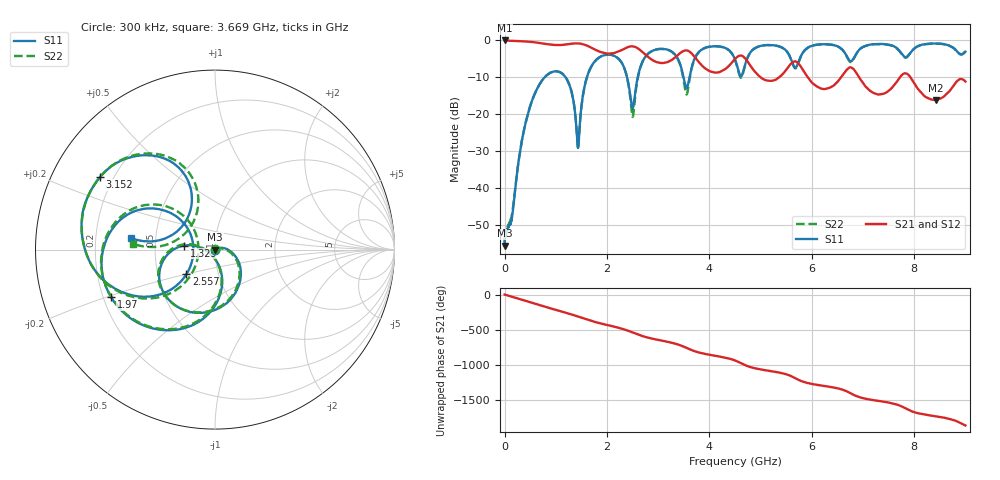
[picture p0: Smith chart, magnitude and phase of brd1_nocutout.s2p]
!Agilent Technologies,E8803A,US42160105,A.06.04.32
!Agilent E8803A: A.06.04.32
!Date: Wednesday, April 19, 2023 22:22:22
!Correction: S11(Full 2 Port(1,2)) S21(Full 2 Port(1,2)) S12(Full 2 Port(1,2)) S22(Full 2 Port(1,2))
!S2P File: Measurements: S11, S21, S12, S22:
# Hz S  dB  R 50
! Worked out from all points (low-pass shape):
!   6401 points, 300 kHz to 9 GHz, reference 50 ohm
!   highest |S21| = -0.01 dB at 300 kHz (marker M1); lowest = -16.1 dB at 8.421 GHz (marker M2)
!   |S21| within 3 dB of the highest: start of sweep to 1.851 GHz; 2.224 GHz to 2.682 GHz (457.6 MHz wide, 18.7 % of centre)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
!   lowest |S11| = -55.6 dB at 300 kHz (marker M3), VSWR 1.00, Z = 50.2 + j0.0402 ohm
!   |S11| at or under -10 dB: start of sweep to 781.8 MHz; 1.192 GHz to 1.607 GHz (415.4 MHz wide, 29.7 % of centre); 2.392 GHz to 2.6 GHz (207.2 MHz wide, 8.3 % of centre)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
!   |S22| runs from -55.7 to -0.9 dB; largest |S21 - S12| = 0.0058
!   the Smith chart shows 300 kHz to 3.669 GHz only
!   S11 on the Smith chart (normalised r, x): 300 kHz: 1.00, +0.00; 1.329 GHz: 0.71, +0.03; 1.97 GHz: 0.23, -0.21; 2.557 GHz: 0.70, -0.20; 3.152 GHz: 0.15, +0.28; 3.669 GHz: 0.36, +0.06
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300000  -55.61 14.0  -0.01 -0.1  -0.01 -0.1  -55.72 22.3
3.841935e8  -23.91 3.5  -0.27 -85.3  -0.28 -85.3  -23.94 -1.2
7.554311e8  -10.42 -76.3  -0.86 -166.7  -0.86 -166.7  -10.42 -78.6
1.329162e9  -15.23 172.5  -0.86 73.0  -0.86 73.0  -15.14 170.5
1.429002e9  -28.86 -146.0  -0.81 49.3  -0.81 49.3  -28.97 -150.5
1.500719e9  -17.85 -74.7  -0.92 31.8  -0.93 31.8  -17.99 -75.9
1.970391e9  -3.92 -155.6  -3.50 -65.5  -3.50 -65.6  -3.92 -157.1
2.312098e9  -6.67 150.9  -2.45 -128.5  -2.46 -128.5  -6.68 147.6
2.556777e9  -13.58 -139.3  -1.80 166.8  -1.81 166.7  -14.32 -133.7
3.001137e9  -2.34 165.8  -6.01 77.2  -6.03 77.1  -2.36 165.7
3.151601e9  -2.42 147.6  -6.00 55.4  -6.02 55.3  -2.43 146.9
3.476434e9  -8.87 111.9  -2.98 -11.3  -3.00 -11.3  -9.29 106.8
3.669084e9  -6.52 172.1  -3.79 -71.6  -3.81 -71.7  -6.80 175.9
4.15563e9  -1.57 118.3  -8.70 -152.5  -8.76 -152.5  -1.59 118.8
4.50015e9  -5.18 83.6  -5.03 146.6  -5.06 146.8  -5.23 82.4
4.879825e9  -2.17 114.6  -8.33 37.1  -8.40 37.1  -2.20 114.7
5.643393e9  -6.79 63.0  -5.77 -91.9  -5.80 -91.7  -6.95 61.5
6.000569e9  -1.46 73.8  -11.40 173.9  -11.47 174.1  -1.46 72.8
6.820385e9  -4.81 50.8  -7.85 18.3  -7.92 18.4  -4.95 49.8
7.500987e9  -1.18 12.7  -13.66 -90.2  -13.76 -89.5  -1.22 10.6
8.420644e9  -0.85 -9.9  -16.13 75.5  -16.21 76.3  -0.86 -12.2
9e9  -3.06 -18.7  -11.14 -54.0  -11.23 -53.4  -2.97 -21.1
